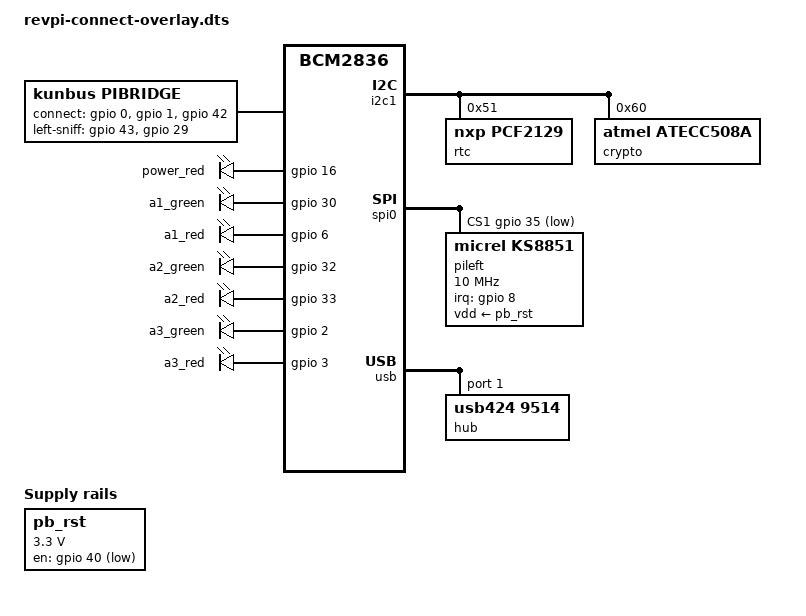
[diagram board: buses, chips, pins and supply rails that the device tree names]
/*
 * Device tree overlay for Revolution Pi by KUNBUS
 *
 * RevPi Connect
 */

/dts-v1/;
/plugin/;
#include <dt-bindings/gpio/gpio.h>
#include <dt-bindings/interrupt-controller/irq.h>
#include <dt-bindings/pinctrl/bcm2835.h>

/{
	compatible = "brcm,bcm2837";

	fragment@0 {
		target-path = "/";
		__overlay__ {
			compatible = "kunbus,revpi-connect", "brcm,bcm2837",
				     "brcm,bcm2836";

			pibridge {
				compatible = "kunbus,pibridge";
				/* X2DI, X2DO, WDTrigger */
				connect-gpios = <&gpio 0 GPIO_ACTIVE_HIGH>,
						<&gpio 1 GPIO_ACTIVE_HIGH>,
						<&gpio 42 GPIO_ACTIVE_HIGH>;
				/* Sniff pins 1A and 2A */
				left-sniff-gpios = <&gpio 43 GPIO_ACTIVE_HIGH>,
						   <&gpio 29 GPIO_ACTIVE_HIGH>;
			};
			/*
			   The reset of the KSZ8851 used for the pibridge has a
			   circuit, which keeps it pulled for up to 80ms. To
			   workaroud this issue, a regulator is used. The
			   circuit implements a reset instead of a n_reset.
			*/
			pb_rst: regulator_pbrst {
				compatible = "regulator-fixed";
				regulator-name = "pb_rst";
				regulator-min-microvolt = <3300000>;
				regulator-max-microvolt = <3300000>;
				gpio = <&gpio 40 GPIO_ACTIVE_LOW>;
				startup-delay-us = <80000>;
			};

			leds {
				compatible = "gpio-leds";
				power_red {
					gpios = <&gpio 16 GPIO_ACTIVE_HIGH>;
					linux,default-trigger = "power_red";
				};
				a1_green {
					gpios = <&gpio 30 GPIO_ACTIVE_HIGH>;
					linux,default-trigger = "a1_green";
				};
				a1_red {
					gpios = <&gpio  6 GPIO_ACTIVE_HIGH>;
					linux,default-trigger = "a1_red";
				};
				a2_green {
					gpios = <&gpio 32 GPIO_ACTIVE_HIGH>;
					linux,default-trigger = "a2_green";
				};
				a2_red {
					gpios = <&gpio 33 GPIO_ACTIVE_HIGH>;
					linux,default-trigger = "a2_red";
				};
				a3_green {
					gpios = <&gpio 2 GPIO_ACTIVE_HIGH>;
					linux,default-trigger = "a3_green";
				};
				a3_red {
					gpios = <&gpio 3 GPIO_ACTIVE_HIGH>;
					linux,default-trigger = "a3_red";
				};
				led-act {
					status = "disabled";
				};
			};
		};
	};

	fragment@1 {
		target = <&gpio>;
		__overlay__ {
			spi0_pins {
				/* miso mosi clock */
				brcm,pins     = <37 38 39>;
				brcm,function = <BCM2835_FSEL_ALT0>;
				brcm,pull     = <BCM2835_PUD_OFF>;
			};
			spi0_cs_pins {
				brcm,pins     = <36 35>;
				brcm,function = <BCM2835_FSEL_GPIO_OUT>;
				brcm,pull     = <BCM2835_PUD_OFF>;
			};
			eth2_int_pins {
				brcm,pins     = <8>;
				brcm,function = <BCM2835_FSEL_GPIO_IN>;
				brcm,pull     = <BCM2835_PUD_OFF>;
			};
			eth2_reset_pins {
				brcm,pins     = <40>;
				brcm,function = <BCM2835_FSEL_GPIO_OUT>;
				brcm,pull     = <BCM2835_PUD_OFF>;
			};
			conbridge_int_pins {
				brcm,pins     = <28>;
				brcm,function = <BCM2835_FSEL_GPIO_IN>;
				brcm,pull     = <BCM2835_PUD_OFF>;
			};
			i2c1 {
				/* sda scl */
				brcm,pins     = <44 45>;
				brcm,function = <BCM2835_FSEL_ALT2>;
				brcm,pull     = <BCM2835_PUD_OFF>;
			};
			rs485_pins: rs485_pins {
				/* tx rx rts term */
				brcm,pins     = <14 15 17 41>;
				brcm,function = <BCM2835_FSEL_ALT0
						 BCM2835_FSEL_ALT0
						 BCM2835_FSEL_ALT3
						 BCM2835_FSEL_GPIO_OUT>;
				brcm,pull     = <BCM2835_PUD_DOWN
						 BCM2835_PUD_DOWN
						 BCM2835_PUD_DOWN
						 BCM2835_PUD_UP>;
			};
		};
	};

	fragment@2 {
		target = <&i2c1>;
		__overlay__ {
			#address-cells = <1>;
			#size-cells = <0>;
			status = "okay";

			rtc@51 {
				compatible = "nxp,pcf2129";
				reg = <0x51>;
				status = "okay";
			};

			crypto@60 {
				compatible = "atmel,atecc508a";
				reg = <0x60>;
				status = "okay";
			};
		};
	};

	fragment@3 {
		target = <&spidev1>;
		__overlay__ {
			status = "disabled";
		};
	};

	fragment@4 {
		target = <&spi0>;
		__overlay__ {
			cs-gpios = <&gpio 36 GPIO_ACTIVE_LOW>,
				   <&gpio 35 GPIO_ACTIVE_LOW>;
			#address-cells = <1>;
			#size-cells = <0>;
			status = "okay";

			pileft: ethernet@1 {
				/* PiBridge Ethernet left */
				compatible = "micrel,ks8851";
				reg = <1>;
				spi-max-frequency = <10000000>;	/* <= 40 MHz */
				interrupt-parent = <&gpio>;
				#interrupt-cells = <2>;
				interrupts = <8 IRQ_TYPE_LEVEL_LOW>;
				vdd-supply = <&pb_rst>;
				status = "okay";
			};
		};
	};

	fragment@5 {
		target = <&usb>;
		__overlay__ {
			#address-cells = <1>;
			#size-cells = <0>;

			hub@1 {
				/* SMSC LAN9514 */
				compatible = "usb424,9514";
				reg = <1>;
				#address-cells = <1>;
				#size-cells = <0>;

				eth0: ethernet@1 {
					compatible = "usb424,ec00";
					reg = <1>;
				};

				hub@5 {
					/* SMSC LAN9512 */
					compatible = "usb424,9512";
					reg = <5>;
					#address-cells = <1>;
					#size-cells = <0>;

					eth1: ethernet@1 {
						compatible = "usb424,ec00";
						reg = <1>;
					};

					uart@2 {
						/* FTDI FT232R (front) */
						compatible = "usb403,6001";
						reg = <2>;
					};

					uart@3 {
						/* FTDI FT232R (conbridge) */
						compatible = "usb403,6001";
						reg = <3>;
					};
				};
			};
		};
	};

	fragment@6 {
		target = <&uart0>;
		__overlay__ {
			linux,rs485-enabled-at-boot-time;
			pinctrl-names = "default";
			pinctrl-0 = <&rs485_pins>;
		};
	};

	__overrides__ {
		eth0_mac_hi = <&eth0>,"local-mac-address:0";
		eth0_mac_lo = <&eth0>,"local-mac-address;4";
		eth1_mac_hi = <&eth1>,"local-mac-address:0";
		eth1_mac_lo = <&eth1>,"local-mac-address;4";
		pileft_mac_hi = <&pileft>,"local-mac-address:0";
		pileft_mac_lo = <&pileft>,"local-mac-address;4";
	};
};
